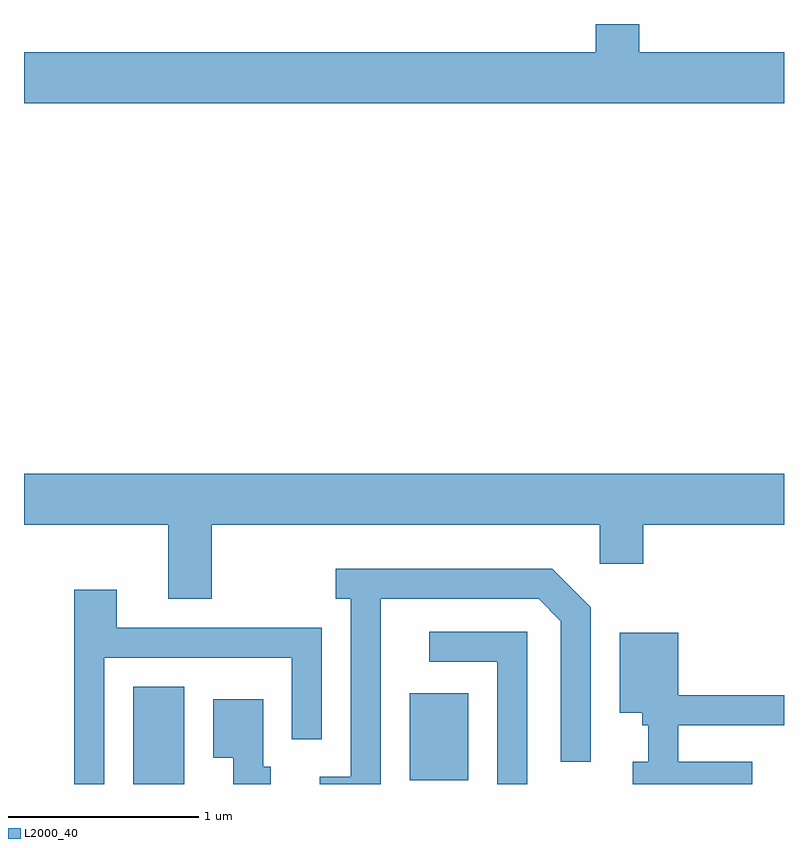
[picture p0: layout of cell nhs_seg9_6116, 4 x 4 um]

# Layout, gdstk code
import gdstk
lib = gdstk.Library(unit=1e-6, precision=1e-09)
def R(c, l, rs):  # rectangles x0, y0, x1, y1
    for r in rs: c.add(gdstk.rectangle(r[:2], r[2:], *l))
def P(c, l, *ps):  # polygons
    for p in ps: c.add(gdstk.Polygon(p, *l))
L2000_40 = (2000, 40)

nhs_seg9_6116 = lib.new_cell('nhs_seg9_6116')
R(nhs_seg9_6116, L2000_40, [(366.186,2010.432,366.454,2010.944), (367.641,2010.451,367.949,2010.909)])
P(nhs_seg9_6116, L2000_40, [(369.611,2014.284),(368.849,2014.284),(368.849,2014.432),(368.621,2014.432),(368.621,2014.284),(365.611,2014.284),(365.611,2014.016),(369.611,2014.016)],
  [(366.599,2011.796),(368.641,2011.796),(368.641,2011.591),(368.869,2011.591),(368.869,2011.796),(369.611,2011.796),(369.611,2012.064),(365.611,2012.064),(365.611,2011.796),(366.371,2011.796),(366.371,2011.406),(366.599,2011.406)],
  [(367.489,2011.406),(368.319,2011.406),(368.436,2011.289),(368.436,2010.548),(368.594,2010.548),(368.594,2011.362),(368.392,2011.564),(367.253,2011.564),(367.253,2011.406),(367.331,2011.406),(367.331,2010.469),(367.168,2010.469),(367.168,2010.432),(367.489,2010.432)],
  [(366.034,2011.096),(367.021,2011.096),(367.021,2010.668),(367.179,2010.668),(367.179,2011.254),(366.099,2011.254),(366.099,2011.454),(365.876,2011.454),(365.876,2010.432),(366.034,2010.432)],
  [(368.259,2011.234),(367.743,2011.234),(367.743,2011.076),(368.101,2011.076),(368.101,2010.432),(368.259,2010.432)],
  [(369.444,2010.549),(369.054,2010.549),(369.054,2010.741),(369.611,2010.741),(369.611,2010.899),(369.054,2010.899),(369.054,2011.229),(368.746,2011.229),(368.746,2010.806),(368.866,2010.806),(368.866,2010.741),(368.896,2010.741),(368.896,2010.549),(368.816,2010.549),(368.816,2010.432),(369.444,2010.432)],
  [(366.909,2010.524),(366.869,2010.524),(366.869,2010.879),(366.606,2010.879),(366.606,2010.571),(366.711,2010.571),(366.711,2010.432),(366.909,2010.432)])

lib.write_gds('nhs_seg9_6116.gds')
